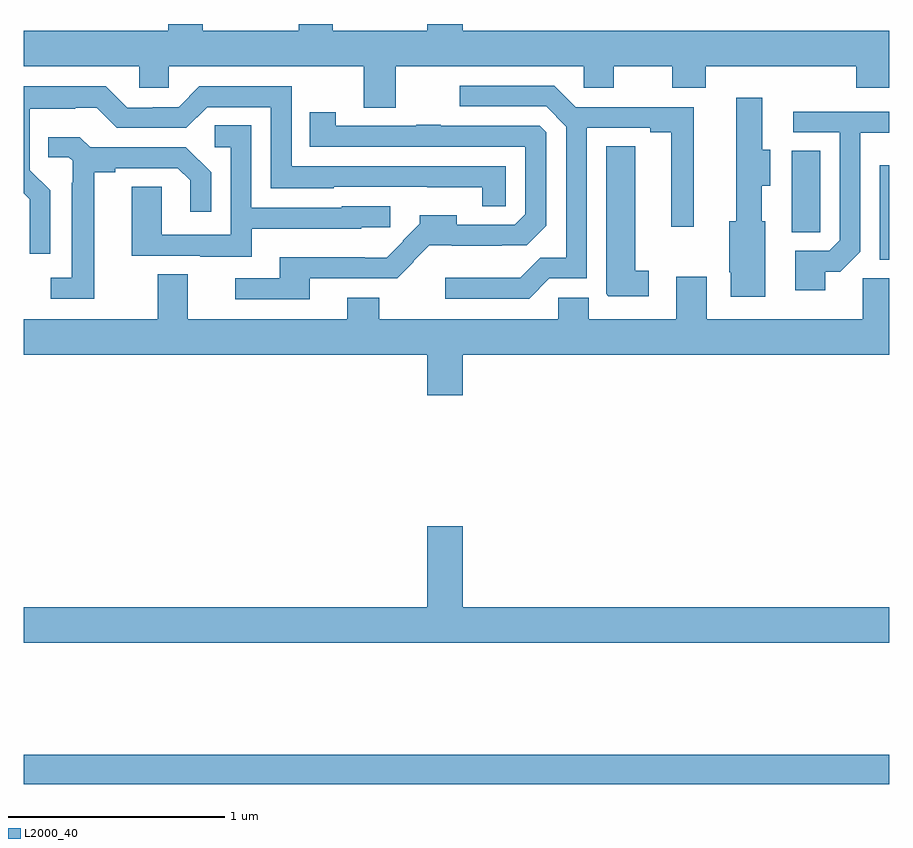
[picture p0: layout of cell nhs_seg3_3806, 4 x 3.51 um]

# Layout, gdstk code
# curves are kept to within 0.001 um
import gdstk
lib = gdstk.Library(unit=1e-6, precision=1e-09)
def R(c, l, rs):  # rectangles x0, y0, x1, y1
    for r in rs: c.add(gdstk.rectangle(r[:2], r[2:], *l))
def P(c, l, *ps):  # polygons
    for p in ps: c.add(gdstk.Polygon(p, *l))
L2000_40 = (2000, 40)

nhs_seg3_3806 = lib.new_cell('nhs_seg3_3806')
R(nhs_seg3_3806, L2000_40, [(307,742.888,311,743.024), (310.955,745.31,311,745.747)])
P(nhs_seg3_3806, L2000_40, [(309.028,746.4),(308.864,746.4),(308.864,746.368),(308.427,746.368),(308.427,746.4),(308.272,746.4),(308.272,746.368),(307.827,746.368),(307.827,746.4),(307.667,746.4),(307.667,746.368),(307,746.368),(307,746.204),(307.533,746.204),(307.533,746.106),(307.671,746.106),(307.671,746.204),(308.572,746.204),(308.572,746.014),(308.719,746.014),(308.719,746.204),(309.588,746.204),(309.588,746.106),(309.727,746.106),(309.727,746.204),(309.998,746.204),(309.998,746.105),(310.151,746.105),(310.151,746.204),(310.847,746.204),(310.847,746.105),(310.999,746.105),(310.999,746.204),(311,746.204),(311,746.368),(309.028,746.368)],
  [(309.429,745.224),(309.603,745.224),(309.603,745.92),(309.896,745.92),(309.896,745.9),(309.992,745.9),(309.992,745.464),(310.096,745.464),(310.096,746.016),(309.55,746.016),(309.451,746.115),(309.015,746.115),(309.015,746.019),(309.414,746.019),(309.507,745.926),(309.507,745.319),(309.386,745.319),(309.295,745.228),(308.949,745.228),(308.949,745.131),(309.336,745.131)],
  [(307.122,745.632),(307.029,745.725),(307.029,746.009),(307.238,746.009),(307.238,746.013),(307.338,746.013),(307.431,745.92),(307.752,745.92),(307.848,746.016),(308.142,746.016),(308.142,745.64),(308.433,745.64),(308.433,745.647),(309.12,745.646),(309.12,745.558),(309.228,745.558),(309.228,745.743),(308.238,745.743),(308.238,746.112),(307.812,746.112),(307.716,746.016),(307.596,746.016),(307.596,746.013),(307.479,746.013),(307.379,746.113),(307,746.113),(307,745.618),(307.028,745.59),(307.028,745.338),(307.122,745.338)],
  [(310.426,745.488),(310.411,745.488),(310.411,745.652),(310.45,745.652),(310.45,745.818),(310.414,745.818),(310.414,746.059),(310.292,746.059),(310.292,745.488),(310.261,745.488),(310.261,745.252),(310.268,745.252),(310.268,745.14),(310.426,745.14)],
  [(310.705,745.255),(310.773,745.255),(310.866,745.347),(310.866,745.898),(311,745.898),(311,745.995),(310.557,745.995),(310.557,745.899),(310.77,745.899),(310.77,745.401),(310.722,745.353),(310.565,745.353),(310.565,745.17),(310.705,745.17)],
  [(308.323,745.224),(308.727,745.224),(308.803,745.301),(308.801,745.303),(308.875,745.377),(309.209,745.376),(309.209,745.378),(309.325,745.378),(309.414,745.467),(309.414,745.899),(309.384,745.929),(308.927,745.929),(308.927,745.934),(308.815,745.934),(308.815,745.929),(308.442,745.929),(308.442,745.993),(308.323,745.993),(308.323,745.833),(309.318,745.833),(309.318,745.521),(309.27,745.473),(309.001,745.473),(309.001,745.516),(308.83,745.516),(308.83,745.477),(308.751,745.398),(308.754,745.395),(308.678,745.319),(308.576,745.319),(308.576,745.321),(308.183,745.321),(308.183,745.224),(307.977,745.224),(307.977,745.128),(308.323,745.128)],
  [(308.053,745.454),(308.559,745.454),(308.559,745.461),(308.694,745.461),(308.694,745.557),(308.469,745.557),(308.469,745.551),(308.052,745.551),(308.052,745.931),(307.884,745.931),(307.884,745.83),(307.956,745.83),(307.956,745.425),(307.638,745.425),(307.638,745.649),(307.499,745.649),(307.499,745.329),(307.817,745.329),(307.817,745.325),(308.053,745.325)],
  [(307.327,745.714),(307.423,745.714),(307.423,745.734),(307.712,745.734),(307.769,745.677),(307.769,745.533),(307.866,745.533),(307.866,745.714),(307.75,745.83),(307.308,745.83),(307.26,745.877),(307.114,745.877),(307.114,745.785),(307.209,745.785),(307.227,745.767),(307.227,745.667),(307.223,745.667),(307.223,745.227),(307.125,745.227),(307.125,745.131),(307.327,745.131)],
  [(309.889,745.259),(309.826,745.259),(309.826,745.835),(309.692,745.835),(309.692,745.153),(309.702,745.143),(309.889,745.143)],
  [(310.68,745.546),(310.681,745.546),(310.681,745.814),(310.55,745.814),(310.55,745.438),(310.68,745.438)],
  [(309.028,744.872),(311,744.872),(311,745.225),(310.878,745.225),(310.878,745.036),(310.156,745.036),(310.156,745.231),(310.016,745.231),(310.016,745.036),(309.61,745.036),(309.61,745.134),(309.471,745.134),(309.471,745.036),(308.643,745.036),(308.643,745.135),(308.495,745.135),(308.495,745.036),(307.759,745.036),(307.759,745.244),(307.619,745.244),(307.619,745.036),(307,745.036),(307,744.872),(308.864,744.872),(308.864,744.684),(309.028,744.684)],
  [(311,743.704),(309.028,743.704),(309.028,744.079),(308.864,744.079),(308.864,743.704),(307,743.704),(307,743.54),(311,743.54)])

lib.write_gds('nhs_seg3_3806.gds')
